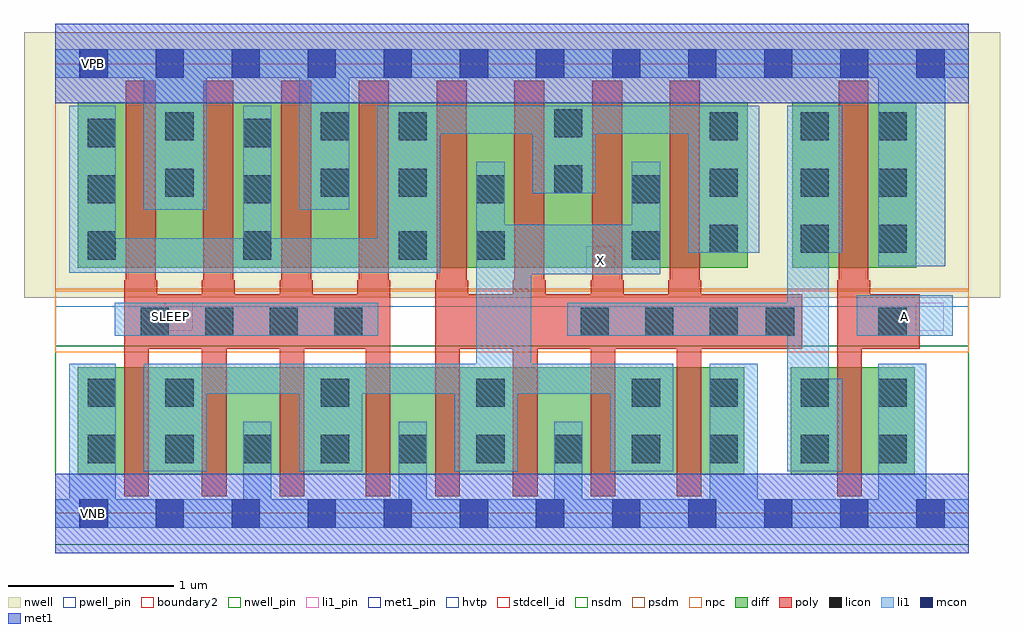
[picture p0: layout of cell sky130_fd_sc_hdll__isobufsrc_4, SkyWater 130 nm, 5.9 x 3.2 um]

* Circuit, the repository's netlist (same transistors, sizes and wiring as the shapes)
* Copyright 2020 The SkyWater PDK Authors
*
* Licensed under the Apache License, Version 2.0 (the "License");
* you may not use this file except in compliance with the License.
* You may obtain a copy of the License at
*
*     https://www.apache.org/licenses/LICENSE-2.0
*
* Unless required by applicable law or agreed to in writing, software
* distributed under the License is distributed on an "AS IS" BASIS,
* WITHOUT WARRANTIES OR CONDITIONS OF ANY KIND, either express or implied.
* See the License for the specific language governing permissions and
* limitations under the License.
*
* SPDX-License-Identifier: Apache-2.0

.SUBCKT sky130_fd_sc_hdll__isobufsrc_4 A SLEEP VGND VNB VPB VPWR X
*.PININFO A:I SLEEP:I VGND:I VNB:I VPB:I VPWR:I X:O
MMP0 VPWR SLEEP sndPA VPB sky130_fd_pr__pfet_01v8_hvt m=4 w=1.0U l=0.18U mult=1
+ sa=0.265 sb=0.265 sd=0.28 area=0.063 perim=1.14
MMP1 sndPA Ab X VPB sky130_fd_pr__pfet_01v8_hvt m=4 w=1.0U l=0.18U mult=1 sa=0.265
+ sb=0.265 sd=0.28 area=0.063 perim=1.14
MMIP1 Ab A VPWR VPB sky130_fd_pr__pfet_01v8_hvt m=1 w=1.0U l=0.18U mult=1 sa=0.265
+ sb=0.265 sd=0.28 area=0.063 perim=1.14
MMN0 X SLEEP VGND VNB sky130_fd_pr__nfet_01v8 m=4 w=0.65U l=0.15U mult=1 sa=0.265
+ sb=0.265 sd=0.28 area=0.063 perim=1.14
MMN1 X Ab VGND VNB sky130_fd_pr__nfet_01v8 m=4 w=0.65U l=0.15U mult=1 sa=0.265
+ sb=0.265 sd=0.28 area=0.063 perim=1.14
MMIN1 Ab A VGND VNB sky130_fd_pr__nfet_01v8 m=1 w=0.65U l=0.15U mult=1 sa=0.265
+ sb=0.265 sd=0.28 area=0.063 perim=1.14
.ENDS sky130_fd_sc_hdll__isobufsrc_4

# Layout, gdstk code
import gdstk
lib = gdstk.Library(unit=1e-6, precision=1e-09)
def R(c, l, rs):  # rectangles x0, y0, x1, y1
    for r in rs: c.add(gdstk.rectangle(r[:2], r[2:], *l))
def A(c, l, x, y, w, h, nx, ny, dx, dy):  # array of equal rectangles
    R(c, l, [(x+i*dx, y+j*dy, x+i*dx+w, y+j*dy+h) for i in range(nx) for j in range(ny)])
def P(c, l, *ps):  # polygons
    for p in ps: c.add(gdstk.Polygon(p, *l))
nwell_pin = (64, 16)
nwell = (64, 20)
diff = (65, 20)
poly = (66, 20)
licon = (66, 44)
li1_pin = (67, 16)
li1 = (67, 20)
mcon = (67, 44)
met1_pin = (68, 16)
met1 = (68, 20)
hvtp = (78, 44)
stdcell_id = (81, 4)
nsdm = (93, 44)
psdm = (94, 20)
npc = (95, 20)
pwell_pin = (122, 16)
boundary2 = (236, 0)

sky130_fd_sc_hdll__isobu = lib.new_cell('sky130_fd_sc_hdll__isobufsrc_4')
R(sky130_fd_sc_hdll__isobu, nwell_pin, [(0.15,2.635,0.32,2.805)])
R(sky130_fd_sc_hdll__isobu, nwell, [(-0.19,1.305,5.71,2.91)])
R(sky130_fd_sc_hdll__isobu, diff, [(0.135,0.235,4.165,0.885), (4.445,0.235,5.195,0.885), (0.135,1.485,4.185,2.485), (4.455,1.485,5.205,2.485)])
P(sky130_fd_sc_hdll__isobu, poly, [(2.025,1.41),(2.015,1.41),(2.015,2.615),(1.835,2.615),(1.835,1.41),(1.825,1.41),(1.825,1.325),(1.555,1.325),(1.555,1.41),(1.545,1.41),(1.545,2.615),(1.365,2.615),(1.365,1.41),(1.355,1.41),(1.355,1.325),(1.085,1.325),(1.085,1.41),(1.075,1.41),(1.075,2.615),(0.895,2.615),(0.895,1.41),(0.885,1.41),(0.885,1.325),(0.615,1.325),(0.615,1.41),(0.605,1.41),(0.605,2.615),(0.425,2.615),(0.425,1.41),(0.415,1.41),(0.415,0.105),(0.565,0.105),(0.565,0.995),(0.885,0.995),(0.885,0.105),(1.035,0.105),(1.035,0.995),(1.355,0.995),(1.355,0.105),(1.505,0.105),(1.505,0.995),(1.875,0.995),(1.875,0.105),(2.025,0.105)],
  [(4.515,1.325),(3.905,1.325),(3.905,1.41),(3.895,1.41),(3.895,2.615),(3.715,2.615),(3.715,1.41),(3.705,1.41),(3.705,1.325),(3.435,1.325),(3.435,1.41),(3.425,1.41),(3.425,2.615),(3.245,2.615),(3.245,1.41),(3.235,1.41),(3.235,1.325),(2.965,1.325),(2.965,1.41),(2.955,1.41),(2.955,2.615),(2.775,2.615),(2.775,1.41),(2.765,1.41),(2.765,1.325),(2.495,1.325),(2.495,1.41),(2.485,1.41),(2.485,2.615),(2.305,2.615),(2.305,1.41),(2.295,1.41),(2.295,0.105),(2.445,0.105),(2.445,0.995),(2.765,0.995),(2.765,0.105),(2.915,0.105),(2.915,0.995),(3.235,0.995),(3.235,0.105),(3.385,0.105),(3.385,0.995),(3.755,0.995),(3.755,0.105),(3.905,0.105),(3.905,0.995),(4.515,0.995)],
  [(5.225,1.325),(4.925,1.325),(4.925,1.41),(4.915,1.41),(4.915,2.615),(4.735,2.615),(4.735,1.41),(4.725,1.41),(4.725,0.105),(4.875,0.105),(4.875,0.995),(5.225,0.995)])
A(sky130_fd_sc_hdll__isobu, licon, 0.195, 0.305, 0.17, 0.17, 9, 1, 0.47, 0)
A(sky130_fd_sc_hdll__isobu, licon, 0.665, 0.645, 0.17, 0.17, 4, 1, 0.94, 0)
A(sky130_fd_sc_hdll__isobu, licon, 0.515, 1.075, 0.17, 0.17, 4, 1, 0.39, 0)
A(sky130_fd_sc_hdll__isobu, licon, 3.175, 1.075, 0.17, 0.17, 3, 1, 0.39, 0)
A(sky130_fd_sc_hdll__isobu, licon, 0.195, 1.535, 0.17, 0.17, 3, 1, 0.94, 0)
A(sky130_fd_sc_hdll__isobu, licon, 3.955, 1.575, 0.17, 0.17, 1, 3, 0, 0.34)
A(sky130_fd_sc_hdll__isobu, licon, 4.505, 1.575, 0.17, 0.17, 1, 3, 0, 0.34)
A(sky130_fd_sc_hdll__isobu, licon, 4.975, 1.575, 0.17, 0.17, 1, 3, 0, 0.34)
R(sky130_fd_sc_hdll__isobu, licon, [(4.505,0.305,4.675,0.475), (4.975,0.305,5.145,0.475), (0.195,0.645,0.365,0.815), (3.955,0.645,4.125,0.815), (4.505,0.645,4.675,0.815), (4.975,0.645,5.145,0.815), (4.295,1.075,4.465,1.245), (4.975,1.075,5.145,1.245), (2.545,1.535,2.715,1.705), (3.485,1.535,3.655,1.705), (0.195,1.875,0.365,2.045), (1.135,1.875,1.305,2.045), (2.545,1.875,2.715,2.045), (3.485,1.875,3.655,2.045), (0.665,1.915,0.835,2.085), (1.605,1.915,1.775,2.085), (2.075,1.915,2.245,2.085), (3.015,1.935,3.185,2.105), (0.195,2.215,0.365,2.385), (1.135,2.215,1.305,2.385), (0.665,2.255,0.835,2.425), (1.605,2.255,1.775,2.425), (2.075,2.255,2.245,2.425), (3.015,2.275,3.185,2.445)])
R(sky130_fd_sc_hdll__isobu, li1_pin, [(0.66,1.105,0.83,1.275), (5.2,1.105,5.37,1.275), (3.21,1.445,3.38,1.615)])
R(sky130_fd_sc_hdll__isobu, li1, [(0.36,1.075,1.95,1.275), (4.845,1.075,5.425,1.32)])
P(sky130_fd_sc_hdll__isobu, li1, [(3.735,0.905),(2.875,0.905),(2.875,1.445),(3.655,1.445),(3.655,2.125),(3.485,2.125),(3.485,1.745),(2.715,1.745),(2.715,2.125),(2.545,2.125),(2.545,0.905),(0.535,0.905),(0.535,0.255),(0.915,0.255),(0.915,0.725),(1.475,0.725),(1.475,0.255),(1.855,0.255),(1.855,0.725),(2.415,0.725),(2.415,0.255),(2.795,0.255),(2.795,0.725),(3.355,0.725),(3.355,0.255),(3.735,0.255)],
  [(4.255,2.465),(1.945,2.465),(1.945,1.665),(1.305,1.665),(1.305,2.465),(1.135,2.465),(1.135,1.665),(0.365,1.665),(0.365,2.465),(0.085,2.465),(0.085,1.455),(2.325,1.455),(2.325,2.295),(2.885,2.295),(2.885,1.935),(3.265,1.935),(3.265,2.295),(3.825,2.295),(3.825,1.575),(4.255,1.575)],
  [(4.755,0.815),(4.675,0.815),(4.675,1.575),(4.755,1.575),(4.755,2.465),(4.425,2.465),(4.425,1.275),(3.095,1.275),(3.095,1.075),(4.425,1.075),(4.425,0.255),(4.755,0.255)],
  [(5.52,0.085),(5.265,0.085),(5.265,0.905),(4.975,0.905),(4.975,0.085),(4.245,0.085),(4.245,0.905),(3.955,0.905),(3.955,0.085),(3.185,0.085),(3.185,0.555),(3.015,0.555),(3.015,0.085),(2.245,0.085),(2.245,0.555),(2.075,0.555),(2.075,0.085),(1.305,0.085),(1.305,0.555),(1.135,0.555),(1.135,0.085),(0.365,0.085),(0.365,0.905),(0.085,0.905),(0.085,0.085),(0,0.085),(0,-0.085),(5.52,-0.085)],
  [(5.52,2.805),(0,2.805),(0,2.635),(0.535,2.635),(0.535,1.835),(0.915,1.835),(0.915,2.635),(1.475,2.635),(1.475,1.835),(1.775,1.835),(1.775,2.635),(4.975,2.635),(4.975,1.495),(5.38,1.495),(5.38,2.635),(5.52,2.635)])
A(sky130_fd_sc_hdll__isobu, mcon, 0.145, -0.085, 0.17, 0.17, 12, 2, 0.46, 2.72)
R(sky130_fd_sc_hdll__isobu, met1_pin, [(0.15,-0.085,0.32,0.085), (0.15,2.635,0.32,2.805)])
R(sky130_fd_sc_hdll__isobu, met1, [(0,-0.24,5.52,0.24), (0,2.48,5.52,2.96)])
R(sky130_fd_sc_hdll__isobu, hvtp, [(0,1.25,5.52,2.72)])
R(sky130_fd_sc_hdll__isobu, stdcell_id, [(0,0,5.52,2.72)])
R(sky130_fd_sc_hdll__isobu, nsdm, [(0,-0.19,5.52,1.015)])
R(sky130_fd_sc_hdll__isobu, psdm, [(0,1.355,5.52,2.91)])
R(sky130_fd_sc_hdll__isobu, npc, [(0,0.975,5.52,1.345)])
R(sky130_fd_sc_hdll__isobu, pwell_pin, [(0.15,-0.085,0.32,0.085)])
R(sky130_fd_sc_hdll__isobu, boundary2, [(0,0,5.52,2.72)])
sky130_fd_sc_hdll__isobu.add(gdstk.Label('A', (5.13,1.19), layer=67, texttype=5))
sky130_fd_sc_hdll__isobu.add(gdstk.Label('X', (3.295,1.53), layer=67, texttype=5))
sky130_fd_sc_hdll__isobu.add(gdstk.Label('SLEEP', (0.695,1.19), layer=67, texttype=5))
sky130_fd_sc_hdll__isobu.add(gdstk.Label('VNB', (0.23,0), layer=64, texttype=59))
sky130_fd_sc_hdll__isobu.add(gdstk.Label('VPB', (0.23,2.72), layer=64, texttype=5))
sky130_fd_sc_hdll__isobu.add(gdstk.Label('VGND', (0.23,0), layer=68, texttype=5))
sky130_fd_sc_hdll__isobu.add(gdstk.Label('VPWR', (0.23,2.72), layer=68, texttype=5))
sky130_fd_sc_hdll__isobu.add(gdstk.Label('sky130_fd_sc_hdll__lpflow_isobufsrc_4', (0,0), layer=83, texttype=44))

lib.write_gds('sky130_fd_sc_hdll__isobufsrc_4.gds')
